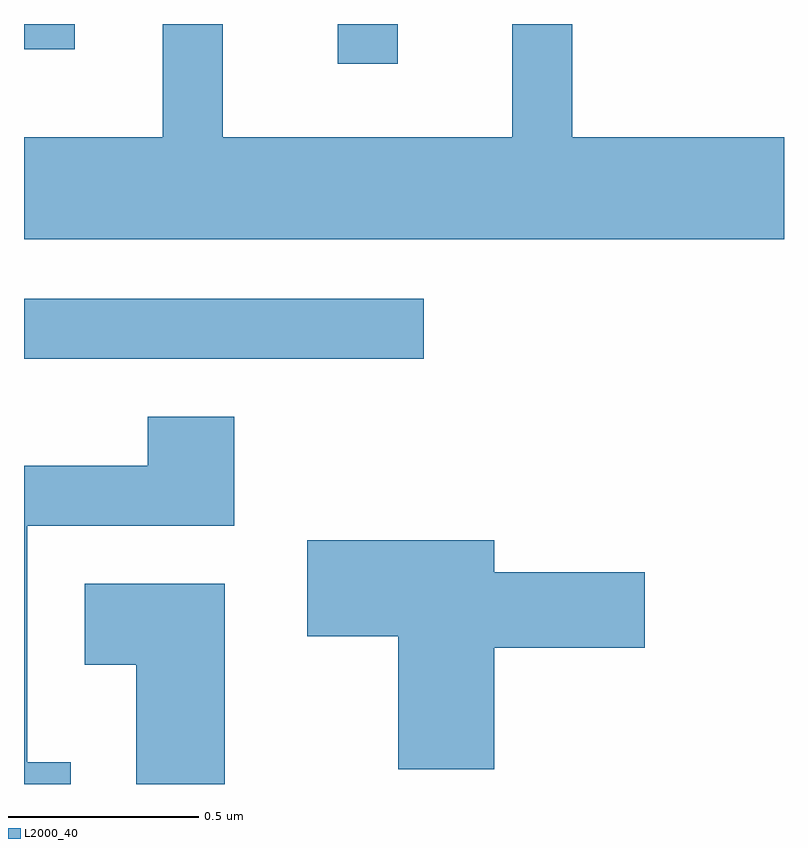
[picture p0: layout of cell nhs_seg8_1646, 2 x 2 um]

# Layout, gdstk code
import gdstk
lib = gdstk.Library(unit=1e-6, precision=1e-09)
def R(c, l, rs):  # rectangles x0, y0, x1, y1
    for r in rs: c.add(gdstk.rectangle(r[:2], r[2:], *l))
def P(c, l, *ps):  # polygons
    for p in ps: c.add(gdstk.Polygon(p, *l))
L2000_40 = (2000, 40)

nhs_seg8_1646 = lib.new_cell('nhs_seg8_1646')
R(nhs_seg8_1646, L2000_40, [(197.611,1809.461,198.663,1809.619), (198.436,1810.238,198.594,1810.342), (197.611,1810.276,197.744,1810.342)])
P(nhs_seg8_1646, L2000_40, [(199.611,1810.044),(199.054,1810.044),(199.054,1810.342),(198.896,1810.342),(198.896,1810.044),(198.134,1810.044),(198.134,1810.342),(197.976,1810.342),(197.976,1810.044),(197.611,1810.044),(197.611,1809.776),(199.611,1809.776)],
  [(197.734,1808.399),(197.619,1808.399),(197.619,1809.021),(198.164,1809.021),(198.164,1809.309),(197.936,1809.309),(197.936,1809.179),(197.611,1809.179),(197.611,1808.342),(197.734,1808.342)],
  [(198.849,1808.701),(199.244,1808.701),(199.244,1808.899),(198.849,1808.899),(198.849,1808.984),(198.356,1808.984),(198.356,1808.731),(198.596,1808.731),(198.596,1808.381),(198.849,1808.381)],
  [(198.139,1808.869),(197.771,1808.869),(197.771,1808.656),(197.906,1808.656),(197.906,1808.342),(198.139,1808.342)])

lib.write_gds('nhs_seg8_1646.gds')
